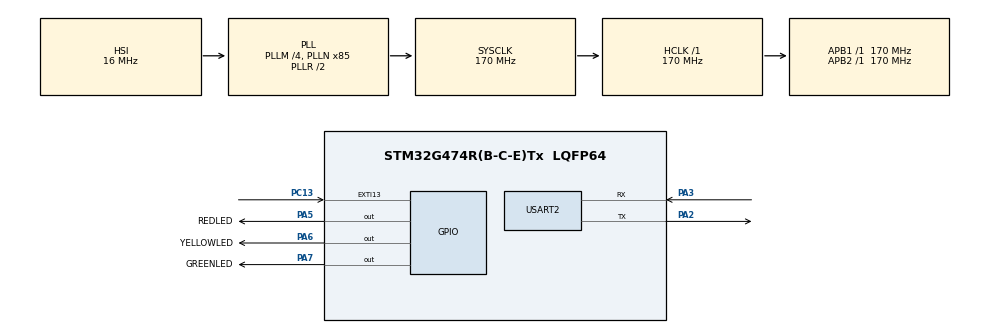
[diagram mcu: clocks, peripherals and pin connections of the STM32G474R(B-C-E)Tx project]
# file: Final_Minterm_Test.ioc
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Mcu.Family=STM32G4
Mcu.Name=STM32G474R(B-C-E)Tx
Mcu.Package=LQFP64
NVIC.EXTI15_10_IRQn=true\:0\:0\:false\:false\:true\:true\:true\:true
NVIC.PriorityGroup=NVIC_PRIORITYGROUP_4
PA13.GPIO_Label=T_SWDIO
PA13.Signal=SYS_JTMS-SWDIO
PA14.GPIO_Label=T_SWCLK
PA14.Signal=SYS_JTCK-SWCLK
PA2.Mode=Asynchronous
PA2.Signal=USART2_TX
PA3.Mode=Asynchronous
PA3.Signal=USART2_RX
PA5.GPIO_Label=REDLED
PA5.Signal=GPIO_Output
PA6.GPIO_Label=YELLOWLED
PA6.Signal=GPIO_Output
PA7.GPIO_Label=GREENLED
PA7.Signal=GPIO_Output
PB3.GPIO_Label=T_SWO
PB3.Signal=SYS_JTDO-SWO
PC13.GPIO_ModeDefaultEXTI=GPIO_MODE_IT_FALLING
PC13.GPIO_PuPd=GPIO_PULLUP
PC13.Signal=GPXTI13
PC14-OSC32_IN.GPIO_Label=RCC_OSC32_IN
PC14-OSC32_IN.Signal=RCC_OSC32_IN
PC15-OSC32_OUT.GPIO_Label=RCC_OSC32_OUT
PC15-OSC32_OUT.Signal=RCC_OSC32_OUT
PF0-OSC_IN.GPIO_Label=RCC_OSC_IN
PF0-OSC_IN.Signal=RCC_OSC_IN
PF1-OSC_OUT.GPIO_Label=RCC_OSC_OUT
PF1-OSC_OUT.Signal=RCC_OSC_OUT
ProjectManager.HeapSize=0x200
ProjectManager.StackSize=0x400
ProjectManager.TargetToolchain=STM32CubeIDE
RCC.ADC12Freq_Value=170000000
RCC.ADC345Freq_Value=170000000
RCC.AHBFreq_Value=170000000
RCC.APB1Freq_Value=170000000
RCC.APB1TimFreq_Value=170000000
RCC.APB2Freq_Value=170000000
RCC.APB2TimFreq_Value=170000000
RCC.CortexFreq_Value=170000000
RCC.EXTERNAL_CLOCK_VALUE=12288000
RCC.HCLKFreq_Value=170000000
RCC.HSE_VALUE=24000000
RCC.HSI48_VALUE=48000000
RCC.HSI_VALUE=16000000
RCC.LSE_VALUE=32768
RCC.PLLM=RCC_PLLM_DIV4
RCC.PLLN=85
RCC.RTCClockSelection=RCC_RTCCLKSOURCE_LSE
RCC.SYSCLKFreq_VALUE=170000000
RCC.SYSCLKSource=RCC_SYSCLKSOURCE_PLLCLK
RCC.USBFreq_Value=170000000
RCC.VCOOutputFreq_Value=340000000
TIM2.Prescaler=169
USART2.VirtualMode-Asynchronous=VM_ASYNC
VP_SYS_VS_DBSignals.Mode=DisableDeadBatterySignals
VP_TIM2_VS_ClockSourceINT.Mode=Internal
board=NUCLEO-G474RE

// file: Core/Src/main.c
/* USER CODE BEGIN Header */
/**
  ******************************************************************************
  * @file           : main.c
  * @brief          : Main program body
  ******************************************************************************
  * @attention
  *
  * Copyright (c) 2026 STMicroelectronics.
  * All rights reserved.
  *
  * This software is licensed under terms that can be found in the LICENSE file
  * in the root directory of this software component.
  * If no LICENSE file comes with this software, it is provided AS-IS.
  *
  ******************************************************************************
  */
/* USER CODE END Header */
#include "main.h"

/* USER CODE BEGIN Includes */
#include <stdio.h>
#include <stdlib.h>
#include <string.h>
/* USER CODE END Includes */

TIM_HandleTypeDef htim2;

UART_HandleTypeDef huart2;

/* USER CODE BEGIN PV */
// 狀態機定義
typedef enum {
    STATE_IDLE = 0,
    STATE_RED,
    STATE_YELLOW,
    STATE_GREEN,
    STATE_FINISHED
} TestState_t;

volatile TestState_t current_state = STATE_IDLE;
volatile uint32_t start_us = 0;
volatile uint32_t reaction_us = 0;
volatile uint8_t button_pressed = 0;
/* USER CODE END PV */

void SystemClock_Config(void);
static void MX_GPIO_Init(void);
static void MX_TIM2_Init(void);
static void MX_USART2_UART_Init(void);
/* USER CODE BEGIN PFP */
void Turn_Off_All_LEDs(void);
void Send_UART_String(char *str);
/* USER CODE END PFP */

/* USER CODE BEGIN 0 */
// 關閉所有 LED
void Turn_Off_All_LEDs(void) {
    HAL_GPIO_WritePin(GPIOA, GPIO_PIN_5, GPIO_PIN_RESET);
    HAL_GPIO_WritePin(GPIOA, GPIO_PIN_6, GPIO_PIN_RESET);
    HAL_GPIO_WritePin(GPIOA, GPIO_PIN_7, GPIO_PIN_RESET);
}

// 傳送字串至 UART (Python端)
void Send_UART_String(char *str) {
    HAL_UART_Transmit(&huart2, (uint8_t*)str, strlen(str), HAL_MAX_DELAY);
}

// 外部按鈕中斷服務（PC13 中斷觸發時呼叫）
void HAL_GPIO_EXTI_Callback(uint16_t GPIO_Pin) {
    if (GPIO_Pin == GPIO_PIN_13) {
        // 抓取當下 TIM2 的計數值 (微秒)
        uint32_t now_us = __HAL_TIM_GET_COUNTER(&htim2);

        if (current_state == STATE_GREEN) {
            // 正確按壓：計算反應時間
            if (now_us >= start_us) {
                reaction_us = now_us - start_us;
            } else {
                // 處理計數器溢位 (32-bit)
                reaction_us = (0xFFFFFFFF - start_us) + now_us + 1;
            }
            button_pressed = 1;
        } else if (current_state == STATE_RED || current_state == STATE_YELLOW) {
            // 例外情况 (i) & (ii): 偷跑
            button_pressed = 1;
        }
    }
}
/* USER CODE END 0 */

int main(void)
{
	HAL_Init();
	  SystemClock_Config();

	  MX_GPIO_Init();
	  MX_USART2_UART_Init();
	  MX_TIM2_Init();

  /* MCU Configuration--------------------------------------------------------*/

  /* Reset of all peripherals, Initializes the Flash interface and the Systick. */
  HAL_Init();

  /* Configure the system clock */
  SystemClock_Config();

  /* Initialize all configured peripherals */
  MX_GPIO_Init();
  MX_TIM2_Init();
  MX_USART2_UART_Init();
  /* USER CODE BEGIN 2 */
  // 啟動 TIM2 計數器
    HAL_TIM_Base_Start(&htim2);

    // 初始化隨機數種子 (使用當前 TIM2 的計數值)
    srand(__HAL_TIM_GET_COUNTER(&htim2));

    char msg_buf[64];
  /* USER CODE END 2 */

  /* Infinite loop */
  /* USER CODE BEGIN WHILE */
  while (1)
  {
	  Turn_Off_All_LEDs();
	        button_pressed = 0;

	        // 提示準備開始
	        HAL_Delay(2000);

	        // 1. 亮紅燈
	        current_state = STATE_RED;
	        HAL_GPIO_WritePin(GPIOA, GPIO_PIN_5, GPIO_PIN_SET);

	        uint32_t stage_start = HAL_GetTick();
	        while (HAL_GetTick() - stage_start < 1000) {
	            if (button_pressed) {
	                // 例外情况 (i): 紅燈偷跑
	                Turn_Off_All_LEDs();
	                Send_UART_String("FALSE_START\n");
	                current_state = STATE_IDLE;
	                break;
	            }
	        }
	        if (current_state == STATE_IDLE) continue; // 重新開始測試

	        // 2. 亮黃燈 (紅燈維持亮起)
	        current_state = STATE_YELLOW;
	        HAL_GPIO_WritePin(GPIOA, GPIO_PIN_6, GPIO_PIN_SET);

	        // 隨機延遲 1~3 秒 (1000ms ~ 3000ms)
	        uint32_t random_delay = 1000 + (rand() % 2001);
	        stage_start = HAL_GetTick();

	        while (HAL_GetTick() - stage_start < random_delay) {
	            if (button_pressed) {
	                // 例外情況 (ii): 黃燈偷跑
	                Turn_Off_All_LEDs();
	                Send_UART_String("FALSE_START\n");
	                current_state = STATE_IDLE;
	                break;
	            }
	        }
	        if (current_state == STATE_IDLE) continue; // 重新開始測試

	        // 3. 亮綠燈 (紅、黃燈熄滅)
	              Turn_Off_All_LEDs();
	              HAL_GPIO_WritePin(GPIOA, GPIO_PIN_7, GPIO_PIN_SET);

	              current_state = STATE_GREEN;
	              start_us = __HAL_TIM_GET_COUNTER(&htim2); // 紀錄綠燈亮起的微秒時間
	              stage_start = HAL_GetTick();

	              while (1) {
	                  if (button_pressed) {
	                      // 成功按下按鈕：熄滅綠燈並傳送微秒整數 (例: SUCCESS:234567\n)
	                      Turn_Off_All_LEDs();
	                      snprintf(msg_buf, sizeof(msg_buf), "SUCCESS:%lu\n", (unsigned long)reaction_us);
	                      Send_UART_String(msg_buf);
	                      break;
	                  }

	                  // 例外情況 (iii): 超過 3 秒未按
	                  if (HAL_GetTick() - stage_start >= 3000) {
	                      Turn_Off_All_LEDs();
	                      Send_UART_String("TIMEOUT\n");
	                      break;
	                  }
	              }
    /* USER CODE END WHILE */

  }
}

void SystemClock_Config(void)
{
  RCC_OscInitTypeDef RCC_OscInitStruct = {0};
  RCC_ClkInitTypeDef RCC_ClkInitStruct = {0};

  /** Configure the main internal regulator output voltage
  */
  HAL_PWREx_ControlVoltageScaling(PWR_REGULATOR_VOLTAGE_SCALE1_BOOST);

  /** Initializes the RCC Oscillators according to the specified parameters
  * in the RCC_OscInitTypeDef structure.
  */
  RCC_OscInitStruct.OscillatorType = RCC_OSCILLATORTYPE_HSI;
  RCC_OscInitStruct.HSIState = RCC_HSI_ON;
  RCC_OscInitStruct.HSICalibrationValue = RCC_HSICALIBRATION_DEFAULT;
  RCC_OscInitStruct.PLL.PLLState = RCC_PLL_ON;
  RCC_OscInitStruct.PLL.PLLSource = RCC_PLLSOURCE_HSI;
  RCC_OscInitStruct.PLL.PLLM = RCC_PLLM_DIV4;
  RCC_OscInitStruct.PLL.PLLN = 85;
  RCC_OscInitStruct.PLL.PLLP = RCC_PLLP_DIV2;
  RCC_OscInitStruct.PLL.PLLQ = RCC_PLLQ_DIV2;
  RCC_OscInitStruct.PLL.PLLR = RCC_PLLR_DIV2;
  if (HAL_RCC_OscConfig(&RCC_OscInitStruct) != HAL_OK)
  {
    Error_Handler();
  }

  /** Initializes the CPU, AHB and APB buses clocks
  */
  RCC_ClkInitStruct.ClockType = RCC_CLOCKTYPE_HCLK|RCC_CLOCKTYPE_SYSCLK
                              |RCC_CLOCKTYPE_PCLK1|RCC_CLOCKTYPE_PCLK2;
  RCC_ClkInitStruct.SYSCLKSource = RCC_SYSCLKSOURCE_PLLCLK;
  RCC_ClkInitStruct.AHBCLKDivider = RCC_SYSCLK_DIV1;
  RCC_ClkInitStruct.APB1CLKDivider = RCC_HCLK_DIV1;
  RCC_ClkInitStruct.APB2CLKDivider = RCC_HCLK_DIV1;

  if (HAL_RCC_ClockConfig(&RCC_ClkInitStruct, FLASH_LATENCY_4) != HAL_OK)
  {
    Error_Handler();
  }
}

static void MX_TIM2_Init(void)
{

  TIM_ClockConfigTypeDef sClockSourceConfig = {0};
  TIM_MasterConfigTypeDef sMasterConfig = {0};

  htim2.Instance = TIM2;
  htim2.Init.Prescaler = 169;
  htim2.Init.CounterMode = TIM_COUNTERMODE_UP;
  htim2.Init.Period = 4294967295;
  htim2.Init.ClockDivision = TIM_CLOCKDIVISION_DIV1;
  htim2.Init.AutoReloadPreload = TIM_AUTORELOAD_PRELOAD_DISABLE;
  if (HAL_TIM_Base_Init(&htim2) != HAL_OK)
  {
    Error_Handler();
  }
  sClockSourceConfig.ClockSource = TIM_CLOCKSOURCE_INTERNAL;
  if (HAL_TIM_ConfigClockSource(&htim2, &sClockSourceConfig) != HAL_OK)
  {
    Error_Handler();
  }
  sMasterConfig.MasterOutputTrigger = TIM_TRGO_RESET;
  sMasterConfig.MasterSlaveMode = TIM_MASTERSLAVEMODE_DISABLE;
  if (HAL_TIMEx_MasterConfigSynchronization(&htim2, &sMasterConfig) != HAL_OK)
  {
    Error_Handler();
  }

}

static void MX_USART2_UART_Init(void)
{

  huart2.Instance = USART2;
  huart2.Init.BaudRate = 115200;
  huart2.Init.WordLength = UART_WORDLENGTH_8B;
  huart2.Init.StopBits = UART_STOPBITS_1;
  huart2.Init.Parity = UART_PARITY_NONE;
  huart2.Init.Mode = UART_MODE_TX_RX;
  huart2.Init.HwFlowCtl = UART_HWCONTROL_NONE;
  huart2.Init.OverSampling = UART_OVERSAMPLING_16;
  huart2.Init.OneBitSampling = UART_ONE_BIT_SAMPLE_DISABLE;
  huart2.Init.ClockPrescaler = UART_PRESCALER_DIV1;
  huart2.AdvancedInit.AdvFeatureInit = UART_ADVFEATURE_NO_INIT;
  if (HAL_UART_Init(&huart2) != HAL_OK)
  {
    Error_Handler();
  }
  if (HAL_UARTEx_SetTxFifoThreshold(&huart2, UART_TXFIFO_THRESHOLD_1_8) != HAL_OK)
  {
    Error_Handler();
  }
  if (HAL_UARTEx_SetRxFifoThreshold(&huart2, UART_RXFIFO_THRESHOLD_1_8) != HAL_OK)
  {
    Error_Handler();
  }
  if (HAL_UARTEx_DisableFifoMode(&huart2) != HAL_OK)
  {
    Error_Handler();
  }

}

static void MX_GPIO_Init(void)
{
  GPIO_InitTypeDef GPIO_InitStruct = {0};

  /* GPIO Ports Clock Enable */
  __HAL_RCC_GPIOC_CLK_ENABLE();
  __HAL_RCC_GPIOF_CLK_ENABLE();
  __HAL_RCC_GPIOA_CLK_ENABLE();
  __HAL_RCC_GPIOB_CLK_ENABLE();

  /*Configure GPIO pin Output Level */
  HAL_GPIO_WritePin(GPIOA, REDLED_Pin|YELLOWLED_Pin|GREENLED_Pin, GPIO_PIN_RESET);

  /*Configure GPIO pin : PC13 */
  GPIO_InitStruct.Pin = GPIO_PIN_13;
  GPIO_InitStruct.Mode = GPIO_MODE_IT_FALLING;
  GPIO_InitStruct.Pull = GPIO_PULLUP;
  HAL_GPIO_Init(GPIOC, &GPIO_InitStruct);

  /*Configure GPIO pins : REDLED_Pin YELLOWLED_Pin GREENLED_Pin */
  GPIO_InitStruct.Pin = REDLED_Pin|YELLOWLED_Pin|GREENLED_Pin;
  GPIO_InitStruct.Mode = GPIO_MODE_OUTPUT_PP;
  GPIO_InitStruct.Pull = GPIO_NOPULL;
  GPIO_InitStruct.Speed = GPIO_SPEED_FREQ_LOW;
  HAL_GPIO_Init(GPIOA, &GPIO_InitStruct);

  /* EXTI interrupt init*/
  HAL_NVIC_SetPriority(EXTI15_10_IRQn, 0, 0);
  HAL_NVIC_EnableIRQ(EXTI15_10_IRQn);

}

void Error_Handler(void)
{
  __disable_irq();
  while (1)
  {
  }
}
